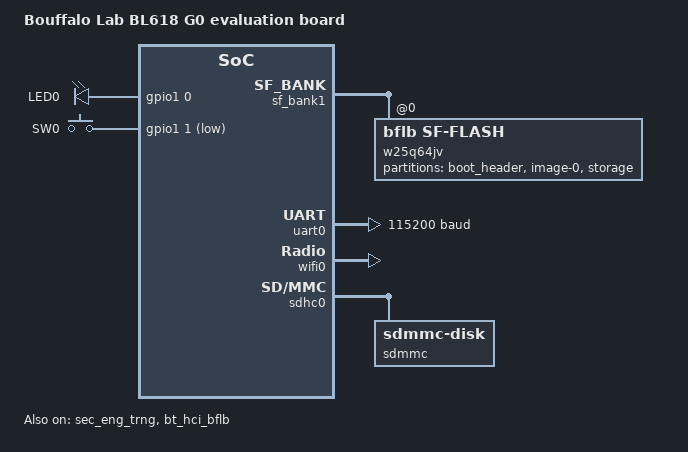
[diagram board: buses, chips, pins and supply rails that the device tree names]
/*
 * Copyright The Zephyr Project Contributors
 *
 * SPDX-License-Identifier: Apache-2.0
 */

/dts-v1/;

#include <bflb/bl618.dtsi>
#include <bflb/bl61x_em_32kb_wifi.dtsi>
#include "bl618g0-pinctrl.dtsi"

/ {
	model = "Bouffalo Lab BL618 G0 evaluation board";
	compatible = "bflb,bl618";

	chosen {
		zephyr,flash = &w25q64jv;
		zephyr,flash-controller = &sf_bank1;
		zephyr,code-partition = &slot0_partition;
		zephyr,sram = &all_ram;
		zephyr,console = &uart0;
		zephyr,shell-uart = &uart0;
		zephyr,entropy = &sec_eng_trng;
		zephyr,bt-hci = &bt_hci_bflb;
	};

	aliases {
		led0 = &led0;
		sw0 = &button_0;
		watchdog0 = &wdt0;
		sdhc0 = &sdhc0;
	};

	leds {
		compatible = "gpio-leds";

		led0: led_0 {
			gpios = <&gpio1 0 GPIO_ACTIVE_HIGH>;
			label = "LED0";
		};
	};

	buttons {
		compatible = "gpio-keys";

		button_0: sw0 {
			gpios = <&gpio1 1 GPIO_ACTIVE_LOW>;
			zephyr,code = <INPUT_KEY_0>;
			label = "SW0";
		};
	};
};

&cpu0 {
	clock-frequency = <DT_FREQ_M(320)>;
};

&clk_flash {
	divider = <1>;
};

&sf_ctrl {
	override-bank1;
	no-header;
};

&sf_bank1 {
	reg = <0xa0000000 DT_SIZE_M(8)>;
	ranges = <0x0 0xa0000000 DT_SIZE_M(8)>;

	pinctrl-0 = <&sf2_default>;
	pinctrl-names = "default";

	w25q64jv: flash@0 {
		compatible = "bflb,sf-flash", "soc-nv-flash";
		reg = <0 DT_SIZE_M(8)>;
		ranges;
		#address-cells = <1>;
		#size-cells = <1>;
		write-block-size = <4>;
		erase-block-size = <DT_SIZE_K(4)>;

		spi-bus-mode = <4>;
		sf-pad = <2>;
		jedec-id = [ef 40 17];

		/* The flash equipped on BL618G0 board doesn't support useful SFDP,
		 * and the flash header doesn't provide a working configuration.
		 * Manually set configuration for best performance.
		 */
		read-command = <0xeb>;
		read-dummy-cycles = <2>;
		continuous-read-command = <0xa0>;

		partitions {
			ranges;
			#address-cells = <1>;
			#size-cells = <1>;

			boot_header_partition: partition@0 {
				compatible = "zephyr,mapped-partition";
				label = "boot_header";
				reg = <0x00000000 0x2000>;
				read-only;
			};

			slot0_partition: partition@2000 {
				compatible = "zephyr,mapped-partition";
				label = "image-0";
				reg = <0x00002000 (DT_SIZE_M(8) - DT_SIZE_K(64) - 0x2000)>;
				read-only;
			};

			storage_partition: partition@7f0000 {
				compatible = "zephyr,mapped-partition";
				label = "storage";
				reg = <0x7f0000 DT_SIZE_K(64)>;
			};
		};
	};
};

&uart0 {
	status = "okay";
	current-speed = <115200>;

	pinctrl-0 = <&uart0_default>;
	pinctrl-1 = <&uart0_sleep>;
	pinctrl-names = "default", "sleep";
};

&gpio0 {
	status = "okay";
};

&gpio1 {
	status = "okay";
};

&sec_eng_trng {
	status = "okay";
};

&bt_hci_bflb {
	status = "okay";

	pwr-table-ble = <13>;
	pwr-table-bt = <10 8 8>;
	pwr-offset-bz = <16 16 16 16 16>;
};

&wifi0 {
	status = "okay";
};

&sdhc0 {
	pinctrl-0 = <&sdh_default>;
	pinctrl-names = "default";
	status = "okay";

	sdmmc {
		compatible = "zephyr,sdmmc-disk";
		disk-name = "SD";
		status = "okay";
	};
};
